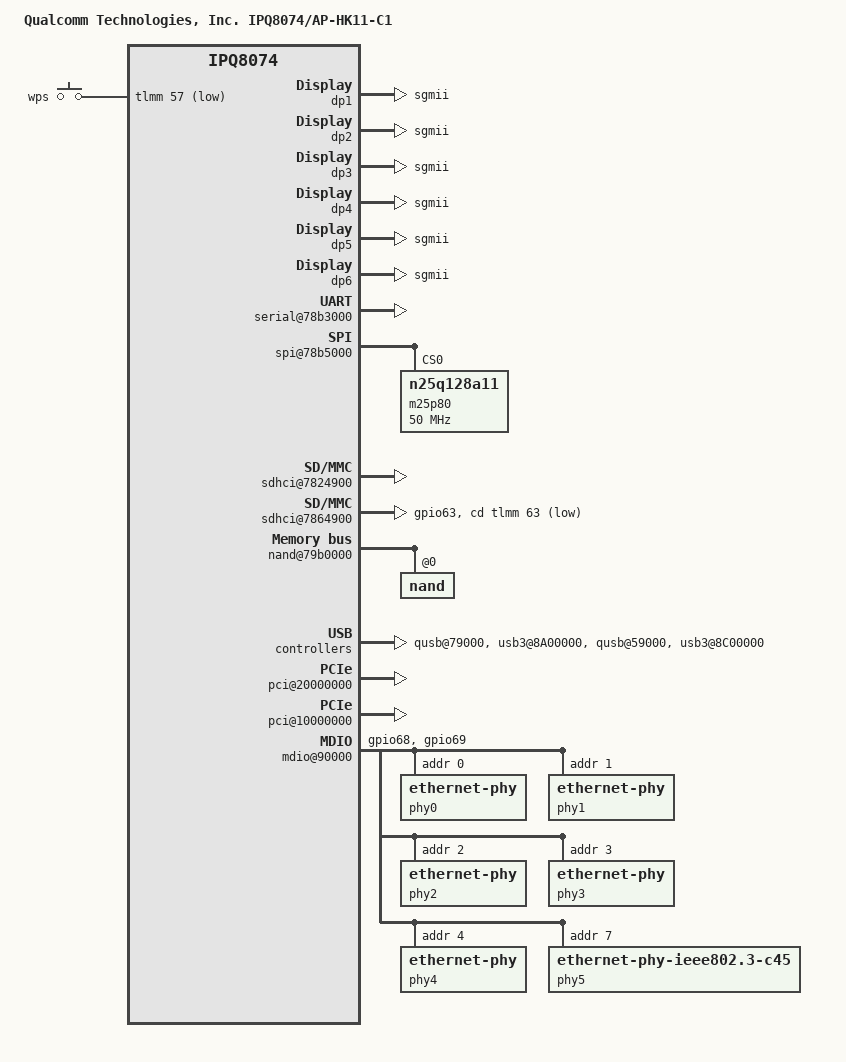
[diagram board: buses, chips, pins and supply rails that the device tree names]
// SPDX-License-Identifier: GPL-2.0-only
/dts-v1/;
/* Copyright (c) 2020 The Linux Foundation. All rights reserved.
 */
#include "ipq8074.dtsi"
#include "ipq8074-hk-cpu.dtsi"

/ {
	#address-cells = <0x2>;
	#size-cells = <0x2>;
	model = "Qualcomm Technologies, Inc. IPQ8074/AP-HK11-C1";
	compatible = "qcom,ipq8074-ap-hk11", "qcom,ipq8074";
	qcom,msm-id = <0x143 0x0>, <0x158 0x0>, <0x186 0x0>, <0x188 0x0>;
	interrupt-parent = <&intc>;

	aliases {
		serial0 = &blsp1_uart5;
		/* Aliases as required by u-boot to patch MAC addresses */
		ethernet0 = "/soc/dp1";
		ethernet1 = "/soc/dp2";
		ethernet2 = "/soc/dp3";
		ethernet3 = "/soc/dp4";
		ethernet4 = "/soc/dp5";
		ethernet5 = "/soc/dp6";
	};

	chosen {
		stdout-path = "serial0";
	};

	soc {

		dp1 {
			device_type = "network";
			compatible = "qcom,nss-dp";
			qcom,id = <1>;
			reg = <0x3a001000 0x200>;
			qcom,mactype = <0>;
			local-mac-address = [000000000000];
			qcom,link-poll = <1>;
			qcom,phy-mdio-addr = <0>;
			phy-mode = "sgmii";
		};

		dp2 {
			device_type = "network";
			compatible = "qcom,nss-dp";
			qcom,id = <2>;
			reg = <0x3a001200 0x200>;
			qcom,mactype = <0>;
			local-mac-address = [000000000000];
			qcom,link-poll = <1>;
			qcom,phy-mdio-addr = <1>;
			phy-mode = "sgmii";
		};

		dp3 {
			device_type = "network";
			compatible = "qcom,nss-dp";
			qcom,id = <3>;
			reg = <0x3a001400 0x200>;
			qcom,mactype = <0>;
			local-mac-address = [000000000000];
			qcom,link-poll = <1>;
			qcom,phy-mdio-addr = <2>;
			phy-mode = "sgmii";
		};

		dp4 {
			device_type = "network";
			compatible = "qcom,nss-dp";
			qcom,id = <4>;
			reg = <0x3a001600 0x200>;
			qcom,mactype = <0>;
			local-mac-address = [000000000000];
			qcom,link-poll = <1>;
			qcom,phy-mdio-addr = <3>;
			phy-mode = "sgmii";
		};

		dp5 {
			device_type = "network";
			compatible = "qcom,nss-dp";
			qcom,id = <5>;
			reg = <0x3a001800 0x200>;
			qcom,mactype = <0>;
			local-mac-address = [000000000000];
			qcom,link-poll = <1>;
			qcom,phy-mdio-addr = <4>;
			phy-mode = "sgmii";
		};

		dp6 {
			device_type = "network";
			compatible = "qcom,nss-dp";
			qcom,id = <6>;
			reg = <0x3a007000 0x3fff>;
			qcom,mactype = <1>;
			local-mac-address = [000000000000];
			qcom,link-poll = <1>;
			qcom,phy-mdio-addr = <7>;
			phy-mode = "sgmii";
		};

		pinctrl@1000000 {
			button_pins: button_pins {
				wps_button {
					pins = "gpio57";
					function = "gpio";
					drive-strength = <8>;
					bias-pull-up;
				};
			};

			sd_pins: sd_pins {
				mux {
					pins = "gpio63";
					function = "sd_card";
					drive-strength = <8>;
					bias-pull-up;
				};
			};

			ledc_pins: ledc_pinmux {
				led_clk {
					pins = "gpio18";
					function = "led0";
					drive-strength = <8>;
					bias-pull-down;
				};
				led_data {
					pins = "gpio19";
					function = "led1";
					drive-strength = <8>;
					bias-pull-down;
				};
				led_clr {
					pins = "gpio20";
					function = "led2";
					drive-strength = <8>;
					bias-pull-up;
				};
			};

			mdio_pins: mdio_pinmux {
				mux_0 {
					pins = "gpio68";
					function = "mdc";
					drive-strength = <8>;
					bias-pull-up;
				};
				mux_1 {
					pins = "gpio69";
					function = "mdio";
					drive-strength = <8>;
					bias-pull-up;
				};
			};
		};

		serial@78b3000 {
			status = "ok";
		};

		spi@78b5000 {
			status = "ok";
			pinctrl-0 = <&spi_0_pins>;
			pinctrl-names = "default";
			cs-select = <0>;

			m25p80@0 {
				  compatible = "n25q128a11";
				  #address-cells = <1>;
				  #size-cells = <1>;
				  reg = <0>;
				  spi-max-frequency = <50000000>;
			};
		};

		sdhci@7824900 {
			status = "ok";
		};

		sd-pwrseq {
			status = "ok";
		};

		sdhci@7864900 {
			pinctrl-0 = <&sd_pins>;
			pinctrl-names = "default";
			cd-gpios = <&tlmm 63 GPIO_ACTIVE_LOW>;
			status = "ok";
		};

		dma@7984000 {
			 status = "ok";
		};

		nand@79b0000 {
			status = "ok";

			nand@0 {
				reg = <0>;
				#address-cells = <1>;
				#size-cells = <1>;

				nand-ecc-strength = <4>;
				nand-ecc-step-size = <512>;
				nand-bus-width = <8>;
			};
		};

		qusb@79000 {
			status = "ok";
		};

		ssphy@78000 {
			status = "ok";
		};

		usb3@8A00000 {
			status = "ok";
		};

		qusb@59000 {
			status = "ok";
		};

		ssphy@58000 {
			status = "ok";
		};

		usb3@8C00000 {
			status = "ok";
		};

		phy@84000 {
			status = "ok";
		};

		phy@86000 {
			status = "ok";
		};

		pci@20000000 {
			perst-gpio = <&tlmm 58 1>;
			status = "ok";
		};

		phy@8e000 {
			status = "ok";
		};

		pci@10000000 {
			perst-gpio = <&tlmm 61 0x1>;
			status = "ok";
		};

		gpio_keys {
			compatible = "gpio-keys";
			pinctrl-0 = <&button_pins>;
			pinctrl-names = "default";
			status = "ok";

			button@1 {
				label = "wps";
				linux,code = <KEY_WPS_BUTTON>;
				gpios = <&tlmm 57 GPIO_ACTIVE_LOW>;
				linux,input-type = <1>;
				debounce-interval = <60>;
			};
		};

		mdio@90000 {
			pinctrl-0 = <&mdio_pins>;
			pinctrl-names = "default";
			phy-reset-gpio = <&tlmm 37 0>;
			phy0: ethernet-phy@0 {
				reg = <0>;
			};
			phy1: ethernet-phy@1 {
				reg = <1>;
			};
			phy2: ethernet-phy@2 {
				reg = <2>;
			};
			phy3: ethernet-phy@3 {
				reg = <3>;
			};
			phy4: ethernet-phy@4 {
				reg = <4>;
			};
			phy5: ethernet-phy@5 {
				compatible ="ethernet-phy-ieee802.3-c45";
				reg = <7>;
			};
		};

		ess-switch@3a000000 {
			switch_cpu_bmp = <0x1>;  /* cpu port bitmap */
			switch_lan_bmp = <0x3e>; /* lan port bitmap */
			switch_wan_bmp = <0x40>; /* wan port bitmap */
			switch_mac_mode = <0x0>; /* mac mode for uniphy instance0*/
			switch_mac_mode1 = <0xff>; /* mac mode for uniphy instance1*/
			switch_mac_mode2 = <0xd>; /* mac mode for uniphy instance2*/
			bm_tick_mode = <0>; /* bm tick mode */
			tm_tick_mode = <0>; /* tm tick mode */
		};
		ledc@191E000  {
			pinctrl-0 = <&ledc_pins>;
			pinctrl-names = "default";
			status = "ok";

			led0 {
				label = "ipq::led0";
				linux,default-trigger = "led_wifi_son_green";
			};
			led1 {
				label = "ipq::led1";
				linux,default-trigger = "led_wifi_son_orange";
			};
			led2 {
				label = "ipq::led2";
				linux,default-trigger = "led_wifi_son_blue";
			};
			led3 {
				label = "ipq::led3";
				linux,default-trigger = "led_2g";
			};
			led4 {
				label = "ipq::led4";
				linux,default-trigger = "led_5gl";
			};
			led5 {
				label = "ipq::led5";
				linux,default-trigger = "led_5gh";
			};
			led6 {
				label = "ipq::led6";
				linux,default-trigger = "led_lan";
			};
			led7 {
				label = "ipq::led7";
				linux,default-trigger = "led_wan";
			};
			led8 {
				label = "ipq::led8";
				linux,default-trigger = "led_10g_link";
			};
			led9 {
				label = "ipq::led9";
				linux,default-trigger = "led_sfp";
			};
			led10 {
				label = "ipq::led10";
				linux,default-trigger = "led_bt";
			};
			led11 {
				label = "ipq::led11";
				linux,default-trigger = "none";
			};
			led12 {
				label = "ipq::led12";
				linux,default-trigger = "none";
			};
		};
	};
};
